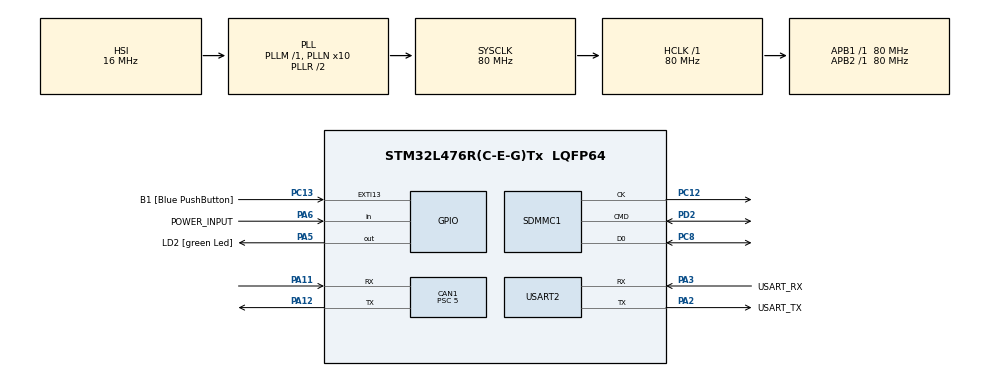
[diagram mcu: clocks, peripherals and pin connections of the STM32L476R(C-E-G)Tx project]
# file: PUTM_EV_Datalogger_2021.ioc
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CAN1.BS1=CAN_BS1_13TQ
CAN1.BS2=CAN_BS2_2TQ
CAN1.CalculateBaudRate=1000000
CAN1.CalculateTimeBit=1000.00
CAN1.CalculateTimeQuantum=62.5
CAN1.Prescaler=5
Mcu.Family=STM32L4
Mcu.Name=STM32L476R(C-E-G)Tx
Mcu.Package=LQFP64
NVIC.CAN1_RX0_IRQn=true\:0\:0\:false\:false\:true\:true\:true
NVIC.EXTI15_10_IRQn=true\:0\:0\:false\:false\:true\:true\:true
NVIC.PriorityGroup=NVIC_PRIORITYGROUP_4
NVIC.USART2_IRQn=true\:0\:0\:false\:false\:true\:true\:true
PA11.Mode=CAN_Activate
PA11.Signal=CAN1_RX
PA12.Mode=CAN_Activate
PA12.Signal=CAN1_TX
PA13\ (JTMS-SWDIO).GPIO_Label=TMS
PA13\ (JTMS-SWDIO).Mode=Serial_Wire
PA13\ (JTMS-SWDIO).Signal=SYS_JTMS-SWDIO
PA14\ (JTCK-SWCLK).GPIO_Label=TCK
PA14\ (JTCK-SWCLK).Mode=Serial_Wire
PA14\ (JTCK-SWCLK).Signal=SYS_JTCK-SWCLK
PA2.GPIO_Label=USART_TX
PA2.GPIO_Mode=GPIO_MODE_AF_PP
PA2.GPIO_PuPd=GPIO_NOPULL
PA2.GPIO_Speed=GPIO_SPEED_FREQ_VERY_HIGH
PA2.Mode=Asynchronous
PA2.Signal=USART2_TX
PA3.GPIO_Label=USART_RX
PA3.GPIO_Mode=GPIO_MODE_AF_PP
PA3.GPIO_PuPd=GPIO_NOPULL
PA3.GPIO_Speed=GPIO_SPEED_FREQ_VERY_HIGH
PA3.Mode=Asynchronous
PA3.Signal=USART2_RX
PA5.GPIO_Label=LD2 [green Led]
PA5.GPIO_ModeDefaultOutputPP=GPIO_MODE_OUTPUT_PP
PA5.GPIO_PuPd=GPIO_NOPULL
PA5.GPIO_Speed=GPIO_SPEED_FREQ_LOW
PA5.Signal=GPIO_Output
PA6.GPIO_Label=POWER_INPUT
PA6.GPIO_PuPd=GPIO_PULLDOWN
PA6.Signal=GPIO_Input
PC12.Mode=SD_1_bit
PC12.Signal=SDMMC1_CK
PC13.GPIO_Label=B1 [Blue PushButton]
PC13.GPIO_ModeDefaultEXTI=GPIO_MODE_IT_FALLING
PC13.GPIO_PuPd=GPIO_NOPULL
PC13.Signal=GPXTI13
PC8.Mode=SD_1_bit
PC8.Signal=SDMMC1_D0
PD2.Mode=SD_1_bit
PD2.Signal=SDMMC1_CMD
ProjectManager.HeapSize=0x400
ProjectManager.StackSize=0x800
ProjectManager.TargetToolchain=STM32CubeIDE
RCC.ADCFreq_Value=64000000
RCC.AHBFreq_Value=80000000
RCC.APB1Freq_Value=80000000
RCC.APB1TimFreq_Value=80000000
RCC.APB2Freq_Value=80000000
RCC.APB2TimFreq_Value=80000000
RCC.CortexFreq_Value=80000000
RCC.HCLKFreq_Value=80000000
RCC.HSE_VALUE=8000000
RCC.HSI_VALUE=16000000
RCC.LSE_VALUE=32768
RCC.MSI_VALUE=4000000
RCC.PLLN=10
RCC.PLLSAI1Q=RCC_PLLQ_DIV4
RCC.PLLSourceVirtual=RCC_PLLSOURCE_HSI
RCC.PREFETCH_ENABLE=1
RCC.SYSCLKFreq_VALUE=80000000
RCC.SYSCLKSource=RCC_SYSCLKSOURCE_PLLCLK
RCC.USBFreq_Value=32000000
RCC.VCOOutputFreq_Value=160000000
USART2.VirtualMode-Asynchronous=VM_ASYNC
VP_FATFS_VS_SDIO.Mode=SDIO
board=NUCLEO-L476RG

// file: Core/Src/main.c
/* USER CODE BEGIN Header */
/**
  ******************************************************************************
  * @file           : main.c
  * @brief          : Main program body
  ******************************************************************************
  * @attention
  *
  * <h2><center>&copy; Copyright (c) 2021 STMicroelectronics.
  * All rights reserved.</center></h2>
  *
  * This software component is licensed by ST under Ultimate Liberty license
  * SLA0044, the "License"; You may not use this file except in compliance with
  * the License. You may obtain a copy of the License at:
  *                             www.st.com/SLA0044
  *
  ******************************************************************************
  */
/* USER CODE END Header */
#include "main.h"
#include "fatfs.h"

/* USER CODE BEGIN Includes */
#include <string.h>
#include <stdio.h>
/* USER CODE END Includes */

CAN_HandleTypeDef hcan1;

SD_HandleTypeDef hsd1;

UART_HandleTypeDef huart2;

/* USER CODE BEGIN PV */
uint8_t RxData_CAN1[8];
CAN_RxHeaderTypeDef RxHeader_CAN1;

struct CAN_MessageToSave bufferToSave[BUFFER_SIZE];
uint16_t counterReadCan = 0;
uint16_t counterWriteSdCard = 0;

char stringToSave[42];
const char fileHeader[] = "TS, ID, D0, D1, D2, D3, D4, D5, D6, D7\r\n";
char lineToSave[] = "%X, %X, %X, %X, %X, %X, %X, %X, %X, %X\r\n";
uint8_t data[50];
uint8_t counter_uart = 5;
uint32_t byteswritten;
uint8_t gotData = 1;
uint8_t counterFSync = 0;
uint8_t gotPower = 1;
uint8_t overflow = 0;

uint8_t size;
FRESULT res;

FRESULT initFileSystem();
/* USER CODE END PV */

void SystemClock_Config(void);

static void MX_GPIO_Init(void);

static void MX_SDMMC1_SD_Init(void);

static void MX_USART2_UART_Init(void);

static void MX_CAN1_Init(void);

int main(void) {

    /* MCU Configuration--------------------------------------------------------*/

    /* Reset of all peripherals, Initializes the Flash interface and the Systick. */
    HAL_Init();

    /* Configure the system clock */
    SystemClock_Config();

    /* Initialize all configured peripherals */
    MX_GPIO_Init();
    MX_SDMMC1_SD_Init();
    MX_USART2_UART_Init();
    MX_FATFS_Init();
    MX_CAN1_Init();
    /* USER CODE BEGIN 2 */
    HAL_UART_Init(&huart2);
    res = initFileSystem();
    if (res != FR_OK) {
        Error_Handler();
    }
    f_write(&SDFile, fileHeader, strlen(fileHeader), (void *) &byteswritten);

    /* USER CODE END 2 */

    /* Infinite loop */
    /* USER CODE BEGIN WHILE */
    while (gotPower || counterWriteSdCard <= counterReadCan || overflow) {
        while (!bufferToSave[counterWriteSdCard].id);
        struct CAN_MessageToSave tempMess = bufferToSave[counterWriteSdCard];
        size = snprintf((char *) stringToSave, 42, lineToSave, tempMess.timestamp, tempMess.id, tempMess.data[0],
                        tempMess.data[1], tempMess.data[2], tempMess.data[3], tempMess.data[4], tempMess.data[5],
                        tempMess.data[6], tempMess.data[7]);
        f_write(&SDFile, stringToSave, size, (void *) &byteswritten);

        if (counterWriteSdCard == BUFFER_SIZE - 1)
            overflow--;
        counterWriteSdCard++;
        counterFSync++;

        if (counterFSync == F_SYNC_FREQ) {
            counterFSync = 0;
            f_sync(&SDFile);
        }

        /* USER CODE END WHILE */

        /* USER CODE BEGIN 3 */
    }
    f_close(&SDFile);
    /* USER CODE END 3 */
}

void SystemClock_Config(void) {
    RCC_OscInitTypeDef RCC_OscInitStruct = {0};
    RCC_ClkInitTypeDef RCC_ClkInitStruct = {0};
    RCC_PeriphCLKInitTypeDef PeriphClkInit = {0};

    /** Initializes the RCC Oscillators according to the specified parameters
    * in the RCC_OscInitTypeDef structure.
    */
    RCC_OscInitStruct.OscillatorType = RCC_OSCILLATORTYPE_HSI;
    RCC_OscInitStruct.HSIState = RCC_HSI_ON;
    RCC_OscInitStruct.HSICalibrationValue = RCC_HSICALIBRATION_DEFAULT;
    RCC_OscInitStruct.PLL.PLLState = RCC_PLL_ON;
    RCC_OscInitStruct.PLL.PLLSource = RCC_PLLSOURCE_HSI;
    RCC_OscInitStruct.PLL.PLLM = 1;
    RCC_OscInitStruct.PLL.PLLN = 10;
    RCC_OscInitStruct.PLL.PLLP = RCC_PLLP_DIV7;
    RCC_OscInitStruct.PLL.PLLQ = RCC_PLLQ_DIV2;
    RCC_OscInitStruct.PLL.PLLR = RCC_PLLR_DIV2;
    if (HAL_RCC_OscConfig(&RCC_OscInitStruct) != HAL_OK) {
        Error_Handler();
    }
    /** Initializes the CPU, AHB and APB buses clocks
    */
    RCC_ClkInitStruct.ClockType = RCC_CLOCKTYPE_HCLK | RCC_CLOCKTYPE_SYSCLK
                                  | RCC_CLOCKTYPE_PCLK1 | RCC_CLOCKTYPE_PCLK2;
    RCC_ClkInitStruct.SYSCLKSource = RCC_SYSCLKSOURCE_PLLCLK;
    RCC_ClkInitStruct.AHBCLKDivider = RCC_SYSCLK_DIV1;
    RCC_ClkInitStruct.APB1CLKDivider = RCC_HCLK_DIV1;
    RCC_ClkInitStruct.APB2CLKDivider = RCC_HCLK_DIV1;

    if (HAL_RCC_ClockConfig(&RCC_ClkInitStruct, FLASH_LATENCY_4) != HAL_OK) {
        Error_Handler();
    }
    PeriphClkInit.PeriphClockSelection = RCC_PERIPHCLK_USART2 | RCC_PERIPHCLK_SDMMC1;
    PeriphClkInit.Usart2ClockSelection = RCC_USART2CLKSOURCE_PCLK1;
    PeriphClkInit.Sdmmc1ClockSelection = RCC_SDMMC1CLKSOURCE_PLLSAI1;
    PeriphClkInit.PLLSAI1.PLLSAI1Source = RCC_PLLSOURCE_HSI;
    PeriphClkInit.PLLSAI1.PLLSAI1M = 1;
    PeriphClkInit.PLLSAI1.PLLSAI1N = 8;
    PeriphClkInit.PLLSAI1.PLLSAI1P = RCC_PLLP_DIV7;
    PeriphClkInit.PLLSAI1.PLLSAI1Q = RCC_PLLQ_DIV4;
    PeriphClkInit.PLLSAI1.PLLSAI1R = RCC_PLLR_DIV2;
    PeriphClkInit.PLLSAI1.PLLSAI1ClockOut = RCC_PLLSAI1_48M2CLK;
    if (HAL_RCCEx_PeriphCLKConfig(&PeriphClkInit) != HAL_OK) {
        Error_Handler();
    }
    /** Configure the main internal regulator output voltage
    */
    if (HAL_PWREx_ControlVoltageScaling(PWR_REGULATOR_VOLTAGE_SCALE1) != HAL_OK) {
        Error_Handler();
    }
}

static void MX_CAN1_Init(void) {

    hcan1.Instance = CAN1;
    hcan1.Init.Prescaler = 5;
    hcan1.Init.Mode = CAN_MODE_NORMAL;
    hcan1.Init.SyncJumpWidth = CAN_SJW_1TQ;
    hcan1.Init.TimeSeg1 = CAN_BS1_13TQ;
    hcan1.Init.TimeSeg2 = CAN_BS2_2TQ;
    hcan1.Init.TimeTriggeredMode = DISABLE;
    hcan1.Init.AutoBusOff = DISABLE;
    hcan1.Init.AutoWakeUp = DISABLE;
    hcan1.Init.AutoRetransmission = DISABLE;
    hcan1.Init.ReceiveFifoLocked = DISABLE;
    hcan1.Init.TransmitFifoPriority = DISABLE;
    if (HAL_CAN_Init(&hcan1) != HAL_OK) {
        Error_Handler();
    }

}

static void MX_SDMMC1_SD_Init(void) {

    hsd1.Instance = SDMMC1;
    hsd1.Init.ClockEdge = SDMMC_CLOCK_EDGE_RISING;
    hsd1.Init.ClockBypass = SDMMC_CLOCK_BYPASS_DISABLE;
    hsd1.Init.ClockPowerSave = SDMMC_CLOCK_POWER_SAVE_DISABLE;
    hsd1.Init.BusWide = SDMMC_BUS_WIDE_1B;
    hsd1.Init.HardwareFlowControl = SDMMC_HARDWARE_FLOW_CONTROL_DISABLE;
    hsd1.Init.ClockDiv = 0;

}

static void MX_USART2_UART_Init(void) {

    huart2.Instance = USART2;
    huart2.Init.BaudRate = 115200;
    huart2.Init.WordLength = UART_WORDLENGTH_8B;
    huart2.Init.StopBits = UART_STOPBITS_1;
    huart2.Init.Parity = UART_PARITY_NONE;
    huart2.Init.Mode = UART_MODE_TX_RX;
    huart2.Init.HwFlowCtl = UART_HWCONTROL_NONE;
    huart2.Init.OverSampling = UART_OVERSAMPLING_16;
    huart2.Init.OneBitSampling = UART_ONE_BIT_SAMPLE_DISABLE;
    huart2.AdvancedInit.AdvFeatureInit = UART_ADVFEATURE_NO_INIT;
    if (HAL_UART_Init(&huart2) != HAL_OK) {
        Error_Handler();
    }

}

static void MX_GPIO_Init(void) {
    GPIO_InitTypeDef GPIO_InitStruct = {0};

    /* GPIO Ports Clock Enable */
    __HAL_RCC_GPIOC_CLK_ENABLE();
    __HAL_RCC_GPIOA_CLK_ENABLE();
    __HAL_RCC_GPIOD_CLK_ENABLE();

    /*Configure GPIO pin Output Level */
    HAL_GPIO_WritePin(LD2_GPIO_Port, LD2_Pin, GPIO_PIN_RESET);

    /*Configure GPIO pin : B1_Pin */
    GPIO_InitStruct.Pin = B1_Pin;
    GPIO_InitStruct.Mode = GPIO_MODE_IT_FALLING;
    GPIO_InitStruct.Pull = GPIO_NOPULL;
    HAL_GPIO_Init(B1_GPIO_Port, &GPIO_InitStruct);

    /*Configure GPIO pin : LD2_Pin */
    GPIO_InitStruct.Pin = LD2_Pin;
    GPIO_InitStruct.Mode = GPIO_MODE_OUTPUT_PP;
    GPIO_InitStruct.Pull = GPIO_NOPULL;
    GPIO_InitStruct.Speed = GPIO_SPEED_FREQ_LOW;
    HAL_GPIO_Init(LD2_GPIO_Port, &GPIO_InitStruct);

    /*Configure GPIO pin : POWER_INPUT_Pin */
    GPIO_InitStruct.Pin = POWER_INPUT_Pin;
    GPIO_InitStruct.Mode = GPIO_MODE_INPUT;
    GPIO_InitStruct.Pull = GPIO_PULLDOWN;
    HAL_GPIO_Init(POWER_INPUT_GPIO_Port, &GPIO_InitStruct);

    /* EXTI interrupt init*/
    HAL_NVIC_SetPriority(EXTI15_10_IRQn, 0, 0);
    HAL_NVIC_EnableIRQ(EXTI15_10_IRQn);

}

/* USER CODE BEGIN 4 */
FRESULT initFileSystem() {
    FRESULT res = FR_OK;

    res |= f_mount(&SDFatFS, (TCHAR const *) SDPath, 0);
    if (res) return res;

    res |= f_open(&SDFile, FILENAME, FA_OPEN_APPEND | FA_WRITE);
    if (res) return res;

    res |= f_lseek(&SDFile, f_size(&SDFile));

    return res;
}
/* USER CODE END 4 */

void Error_Handler(void) {
    __disable_irq();
    while (1) {
    }
}

/************************ (C) COPYRIGHT STMicroelectronics *****END OF FILE****/
